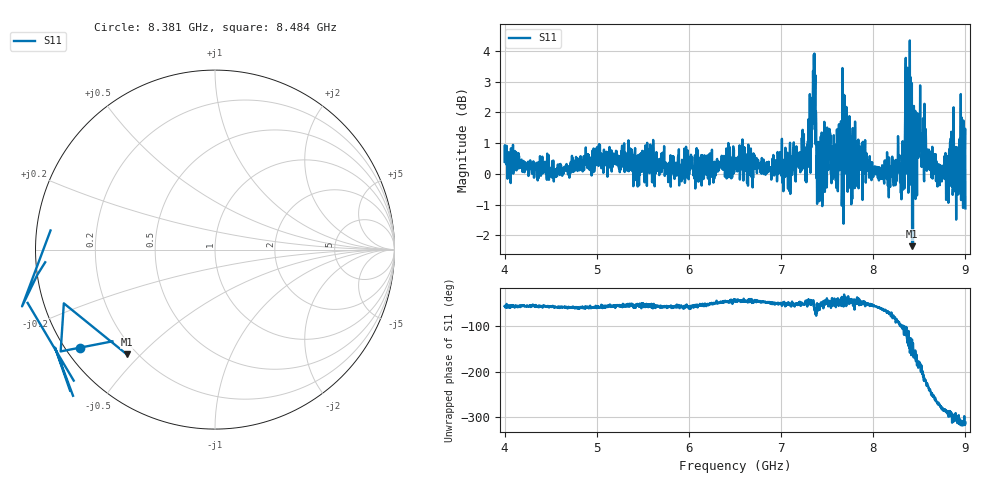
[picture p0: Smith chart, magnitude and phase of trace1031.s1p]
! Created with skrf 1.8.0 (http://scikit-rf.org).
# Hz S RI R 50.0
!freq ReS11 ImS11
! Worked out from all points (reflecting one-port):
!   1601 points, 4 GHz to 9 GHz, reference 50 ohm
!   lowest |S11| = -2.3 dB at 8.422 GHz (marker M1), VSWR 7.44, Z = 8.14 - j22.7 ohm
!   phase of S11 starts at -57 deg and turns -253 deg over the sweep
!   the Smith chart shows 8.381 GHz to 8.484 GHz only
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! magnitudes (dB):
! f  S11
! 4 GHz  0.4
! 4.625 GHz  -0.1
! 5.25 GHz  0.1
! 5.875 GHz  0.2
! 6.5 GHz  0.5
! 7.125 GHz  0.6
! 7.281 GHz  0.5
! 7.347 GHz  3.3
! 7.369 GHz  2.7
! 7.409 GHz  0.0
! 7.512 GHz  0.1
! 7.594 GHz  -0.2
! 7.65 GHz  1.7
! 7.691 GHz  0.6
! 7.703 GHz  1.0
! 7.75 GHz  0.3
! 8.312 GHz  0.4
! 8.334 GHz  0.0
! 8.375 GHz  1.5
! 8.394 GHz  1.0
! 8.406 GHz  -0.3
! 8.422 GHz  -2.3
! 8.447 GHz  1.5
! 8.459 GHz  -0.8
! 8.522 GHz  1.3
! 8.722 GHz  -0.4
! 8.972 GHz  0.9
! 9 GHz  -1.1
